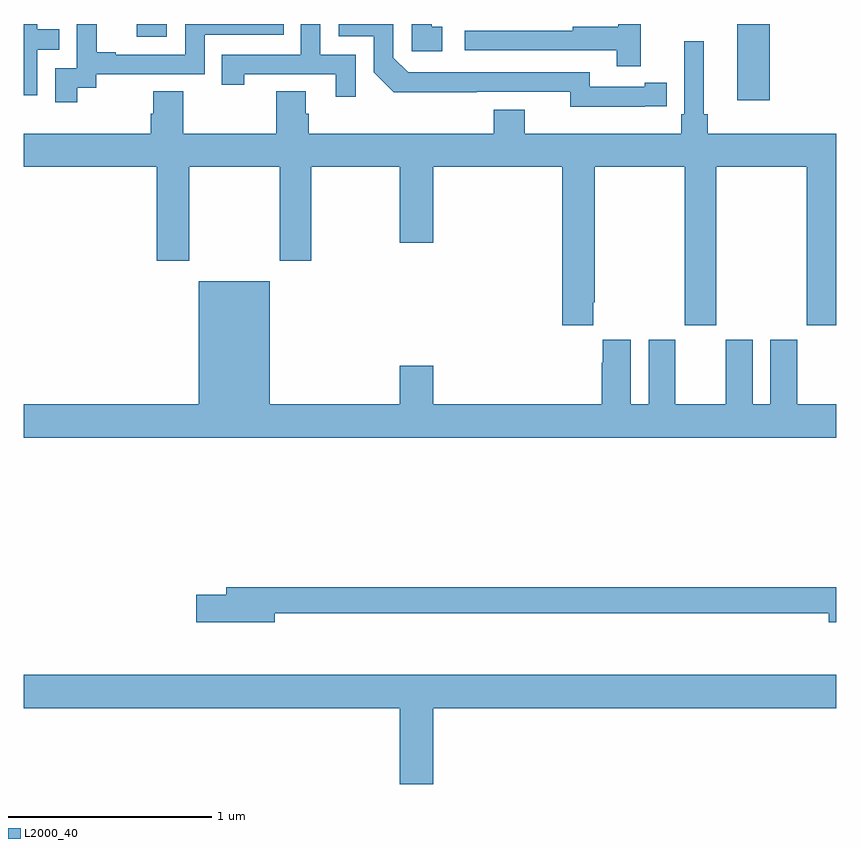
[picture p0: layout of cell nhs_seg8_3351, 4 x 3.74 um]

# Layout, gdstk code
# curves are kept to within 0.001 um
import gdstk
lib = gdstk.Library(unit=1e-6, precision=1e-09)
def R(c, l, rs):  # rectangles x0, y0, x1, y1
    for r in rs: c.add(gdstk.rectangle(r[:2], r[2:], *l))
def P(c, l, *ps):  # polygons
    for p in ps: c.add(gdstk.Polygon(p, *l))
L2000_40 = (2000, 40)

nhs_seg8_3351 = lib.new_cell('nhs_seg8_3351')
R(nhs_seg8_3351, L2000_40, [(322.514,1087.524,322.673,1087.9), (319.557,1087.836,319.704,1087.9)])
P(nhs_seg8_3351, L2000_40, [(319.264,1087.585),(319.356,1087.585),(319.356,1087.653),(319.89,1087.653),(319.89,1087.848),(320.279,1087.848),(320.279,1087.9),(319.794,1087.9),(319.794,1087.749),(319.453,1087.749),(319.453,1087.762),(319.358,1087.762),(319.358,1087.9),(319.26,1087.9),(319.26,1087.683),(319.155,1087.683),(319.155,1087.515),(319.264,1087.515)],
  [(320.634,1087.749),(320.46,1087.749),(320.46,1087.9),(320.364,1087.9),(320.364,1087.749),(319.975,1087.749),(319.975,1087.602),(320.086,1087.602),(320.086,1087.653),(320.537,1087.653),(320.537,1087.542),(320.634,1087.542)],
  [(321.061,1087.887),(321.008,1087.887),(321.008,1087.9),(320.91,1087.9),(320.91,1087.767),(321.061,1087.767)],
  [(319.065,1087.773),(319.175,1087.773),(319.175,1087.874),(319.065,1087.874),(319.065,1087.9),(319,1087.9),(319,1087.548),(319.065,1087.548)],
  [(322.037,1087.9),(321.927,1087.9),(321.927,1087.886),(321.703,1087.886),(321.703,1087.866),(321.171,1087.866),(321.171,1087.77),(321.919,1087.77),(321.919,1087.692),(322.037,1087.692)],
  [(322.058,1087.494),(322.166,1087.494),(322.166,1087.61),(322.058,1087.61),(322.058,1087.59),(321.786,1087.59),(321.786,1087.662),(320.892,1087.662),(320.82,1087.734),(320.82,1087.9),(320.55,1087.9),(320.55,1087.839),(320.724,1087.839),(320.724,1087.662),(320.822,1087.565),(321.69,1087.566),(321.69,1087.493)],
  [(321.805,1086.529),(321.81,1086.529),(321.81,1087.196),(322.255,1087.196),(322.255,1086.417),(322.41,1086.417),(322.41,1087.196),(322.855,1087.196),(322.855,1086.417),(323,1086.417),(323,1087.36),(322.367,1087.36),(322.367,1087.456),(322.348,1087.456),(322.348,1087.816),(322.251,1087.816),(322.251,1087.456),(322.238,1087.456),(322.238,1087.36),(321.466,1087.36),(321.466,1087.477),(321.314,1087.477),(321.314,1087.36),(320.402,1087.36),(320.402,1087.458),(320.389,1087.458),(320.389,1087.568),(320.242,1087.568),(320.242,1087.36),(319.785,1087.36),(319.785,1087.568),(319.637,1087.568),(319.637,1087.458),(319.625,1087.458),(319.625,1087.36),(319,1087.36),(319,1087.196),(319.655,1087.196),(319.655,1086.735),(319.815,1086.735),(319.815,1087.196),(320.26,1087.196),(320.26,1086.735),(320.415,1086.735),(320.415,1087.196),(320.852,1087.196),(320.852,1086.822),(321.016,1086.822),(321.016,1087.196),(321.65,1087.196),(321.65,1086.417),(321.805,1086.417)],
  [(323,1086.028),(322.807,1086.028),(322.807,1086.346),(322.676,1086.346),(322.676,1086.028),(322.588,1086.028),(322.588,1086.346),(322.457,1086.346),(322.457,1086.028),(322.207,1086.028),(322.207,1086.346),(322.076,1086.346),(322.076,1086.028),(321.988,1086.028),(321.988,1086.346),(321.851,1086.346),(321.851,1086.233),(321.845,1086.233),(321.845,1086.028),(321.016,1086.028),(321.016,1086.217),(320.852,1086.217),(320.852,1086.028),(320.212,1086.028),(320.212,1086.634),(319.862,1086.634),(319.862,1086.028),(319,1086.028),(319,1085.864),(323,1085.864)],
  [(320.236,1084.998),(322.964,1084.998),(322.964,1084.955),(323,1084.955),(323,1085.126),(319.997,1085.126),(319.997,1085.09),(319.848,1085.09),(319.848,1084.955),(320.236,1084.955)],
  [(321.016,1084.532),(323,1084.532),(323,1084.696),(319,1084.696),(319,1084.532),(320.852,1084.532),(320.852,1084.158),(321.016,1084.158)])

lib.write_gds('nhs_seg8_3351.gds')
